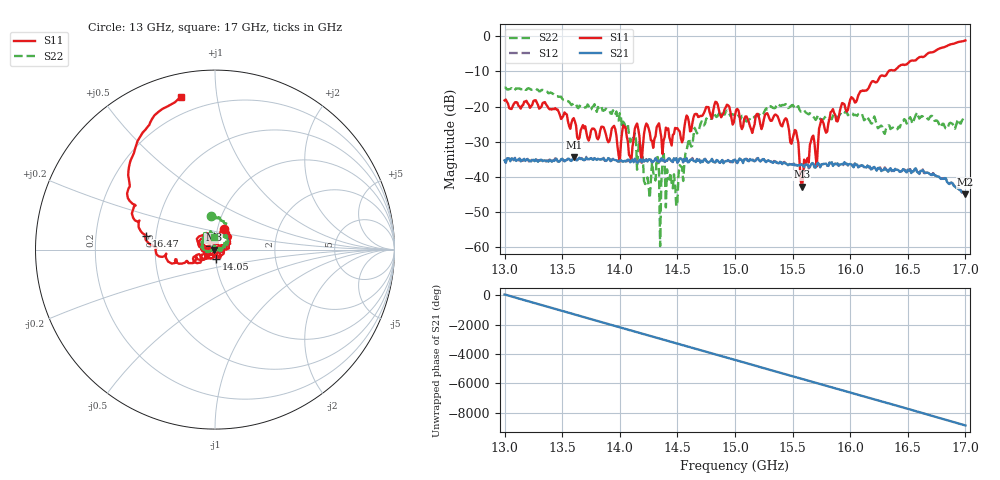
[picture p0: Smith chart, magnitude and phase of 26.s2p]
!Keysight Technologies,P9374A,MY57211807,A.19.30.04
!Date: Friday, May 01, 2026 14:12:40
!Correction: S11(C  2-Port  )
!S21(C  2-Port  )
!S12(C  2-Port  )
!S22(C  2-Port  )
!S2P File: Measurements: S11, S21, S12, S22:
# Hz S  RI  R 50
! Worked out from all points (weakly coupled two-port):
!   401 points, 13 GHz to 17 GHz, reference 50 ohm
!   highest |S21| = -34.35 dB at 13.6 GHz (marker M1); lowest = -44.9 dB at 17 GHz (marker M2)
!   lowest |S11| = -42.7 dB at 15.58 GHz (marker M3), VSWR 1.01, Z = 49.3 - j0.0767 ohm
!   |S11| at or under -10 dB: start of sweep to 16.33 GHz
!   |S22| runs from -59.6 to -14.6 dB; largest |S21 - S12| = 0.0011
!   S11 on the Smith chart (normalised r, x): 13 GHz: 1.07, +0.25; 14.05 GHz: 1.01, -0.10; 16.47 GHz: 0.44, +0.08; 17 GHz: 0.11, +0.79
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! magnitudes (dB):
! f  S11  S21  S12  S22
! 13 GHz  -18.2  -35.3  -35.1  -14.6
! 13.6 GHz  -23.3  -34.3  -34.3  -19.0
! 13.67 GHz  -26.0  -34.8  -34.6  -20.1
! 13.95 GHz  -25.4  -35.1  -35.0  -21.8
! 13.99 GHz  -33.9  -35.6  -35.3  -24.0
! 14.05 GHz  -25.9  -35.4  -35.6  -26.0
! 14.09 GHz  -34.1  -35.8  -35.5  -30.1
! 14.14 GHz  -25.4  -35.5  -35.3  -29.3
! 14.18 GHz  -33.1  -34.9  -34.8  -31.5
! 14.24 GHz  -25.2  -35.6  -35.7  -40.1
! 14.31 GHz  -28.4  -34.7  -34.5  -41.0
! 14.34 GHz  -24.7  -35.6  -35.5  -38.3
! 14.48 GHz  -26.0  -35.1  -35.1  -41.9
! 14.7 GHz  -22.6  -35.9  -35.9  -24.9
! 15 GHz  -22.4  -35.1  -35.4  -22.6
! 15.44 GHz  -23.3  -36.1  -36.2  -19.3
! 15.53 GHz  -26.9  -36.5  -36.5  -20.6
! 15.58 GHz  -42.7  -36.5  -36.3  -21.3
! 15.67 GHz  -28.6  -36.0  -36.1  -22.6
! 16.34 GHz  -9.7  -37.8  -37.9  -25.4
! 16.47 GHz  -8.2  -38.0  -37.8  -23.5
! 17 GHz  -1.2  -44.9  -44.9  -23.1
